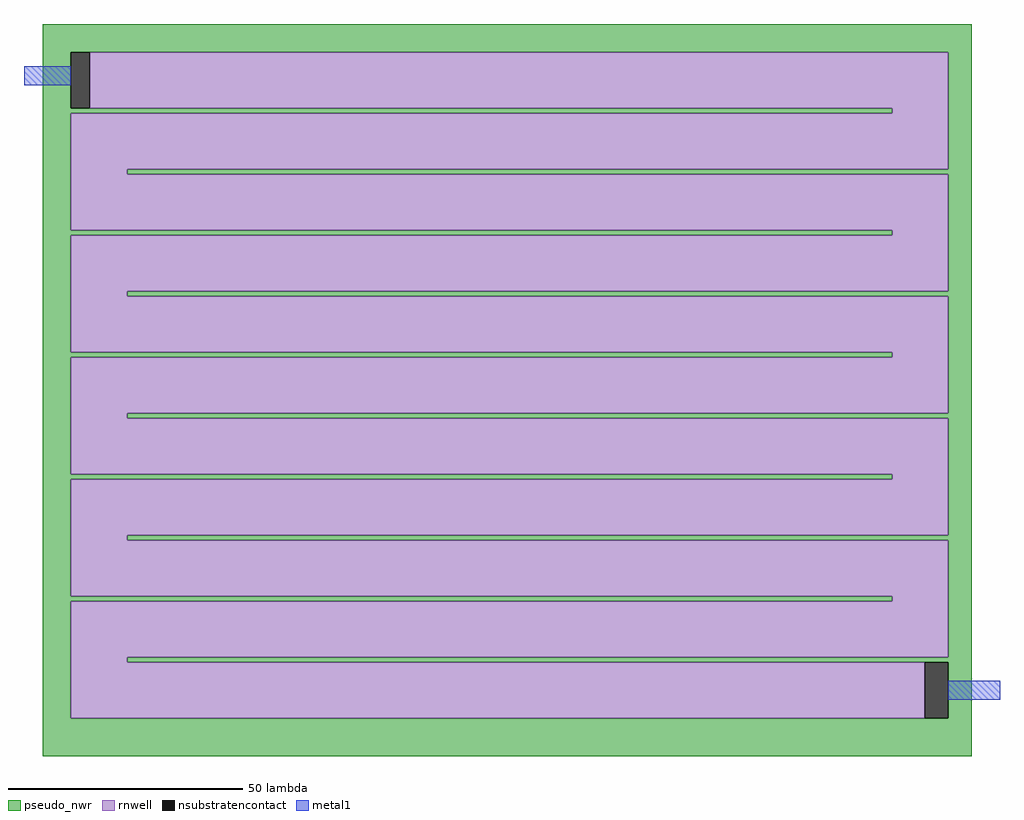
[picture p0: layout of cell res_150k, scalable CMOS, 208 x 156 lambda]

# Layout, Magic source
magic
tech scmos
<< nsubstratencontact >>
rect -24 18 -20 30
rect 158 -112 163 -100
<< metal1 >>
rect -34 23 -24 27
rect 163 -108 174 -104
<< rnwell >>
rect -20 18 163 30
rect 151 17 163 18
rect -24 5 163 17
rect -24 4 -12 5
rect -24 -8 163 4
rect 151 -9 163 -8
rect -24 -21 163 -9
rect -24 -22 -12 -21
rect -24 -34 163 -22
rect 151 -35 163 -34
rect -24 -47 163 -35
rect -24 -48 -12 -47
rect -24 -60 163 -48
rect 151 -61 163 -60
rect -24 -73 163 -61
rect -24 -74 -12 -73
rect -24 -86 163 -74
rect 151 -87 163 -86
rect -24 -99 163 -87
rect -24 -100 -12 -99
rect -24 -112 158 -100
<< pseudo_nwr >>
rect -30 30 168 36
rect -30 18 -24 30
rect -30 17 151 18
rect -30 -8 -24 17
rect 163 5 168 30
rect -12 4 168 5
rect -30 -9 151 -8
rect -30 -34 -24 -9
rect 163 -21 168 4
rect -12 -22 168 -21
rect -30 -35 151 -34
rect -30 -60 -24 -35
rect 163 -47 168 -22
rect -12 -48 168 -47
rect -30 -61 151 -60
rect -30 -86 -24 -61
rect 163 -73 168 -48
rect -12 -74 168 -73
rect -30 -87 151 -86
rect -30 -112 -24 -87
rect 163 -99 168 -74
rect -12 -100 168 -99
rect 163 -112 168 -100
rect -30 -120 168 -112
<< end >>
